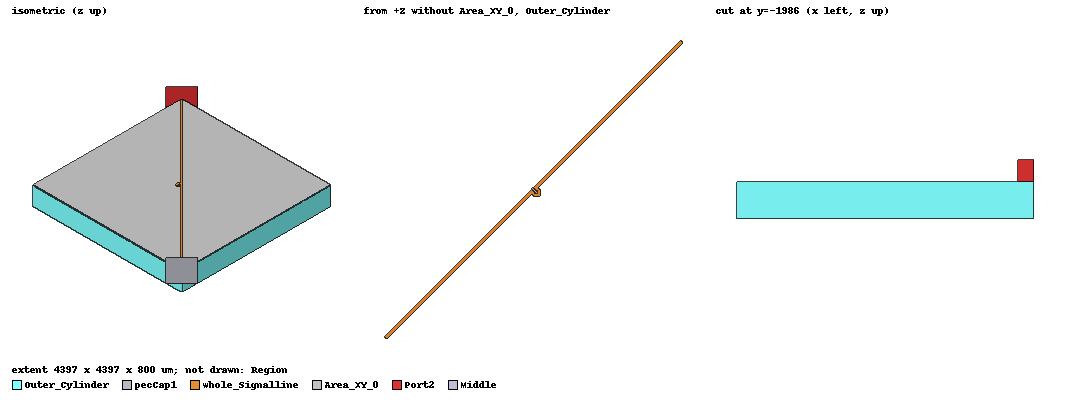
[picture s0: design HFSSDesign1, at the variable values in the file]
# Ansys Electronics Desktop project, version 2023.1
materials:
  vacuum: permittivity=1
  diamond: permittivity=16.5
  gold: permeability=0.99996 conductivity=41000000
  air: permittivity=1.0006 permeability=1.0000004
  pec: conductivity=1e+30

design HFSSDesign1 (HFSS, HFSS Modal Network, model units um)
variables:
  lÃ¤nge = 4mm
  breite = 4mm
  hÃ¶he = 0.5mm
  length = 4000um
  width = 4000um
  hight = 500um
  R_out = 65um
  R_inner = 25um
  Point = 1971.5um
  hight_Line = 1um
  width_Port1 = 600um
  hight_Port1 = width_Port1
  width_Port2 = width_Port1
  hight_Port2 = width_Port2
  width_Gap = 10um
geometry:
  Diamant = box(corner=(-length/2, -width/2, -hight/2), size=(length, width, hight))
  Outer_Cylinder [diamond] = cylinder(axis=Z, base_centre=(35um, -35um, -250um), radius=R_out, height=500um)
  Zylinder_innen = cylinder(axis=Z, base_centre=(35um, -35um, -250um), radius=R_inner, height=500um)
  Outer_Cylinder.subtract(Zylinder_innen)
  Outer_Cylinder.unite(Diamant)
  coordinate_system RelativeCS1 = origin=(0um, 0um, 0um) x=(1000um, 1000um, 0um) y=(-500um, 4.25um, 0um)
  Region [air] = region(percentage_offset=0 on all sides) in RelativeCS1
  Area_XY_20 [non-model] = rectangle(corner=(-2500um, -2500um, 230um), x_size=5000um, y_size=5000um)
  Area_ZY [non-model] = rectangle(corner=(0um, -3000um, -1500um), y_size=6000um, z_size=3000um) in RelativeCS1
  Area_XZ [non-model] = rectangle(corner=(-3000um, -50um, -1500um), z_size=3000um, x_size=6000um) in RelativeCS1
  Area_XY_10 [non-model] = rectangle(corner=(-2500um, -2500um, 240um), x_size=5000um, y_size=5000um)
  Dreieck_plus1 = polyline(z=250um, xy: (2000um, Point) (2000um, 2000um) (Point, 2000um) (2000um, Point), closed, covered)
  Dreieck_plus1.thicken(hight_Line)
  Zylinder_aussen1 = cylinder(axis=Z, base_centre=(35um, -35um, -250um), radius=R_out, height=500um)
  Zylinder_innen1 = cylinder(axis=Z, base_centre=(35um, -35um, -250um), radius=R_inner, height=500um)
  Zylinder_aussen1.subtract(Zylinder_innen1)
  Zylinder_aussen_ObjectFromFace2 = object_from(Zylinder_aussen1.face(+z end))
  Zylinder_aussen_ObjectFromFace2.thicken(hight_Line)
  signal_line1 = polyline(z=250um, xy: (-Point, -2000um) (2000um, Point) (Point, 2000um) (-2000um, -Point) (-Point, -2000um), closed, covered)
  signal_line1.thicken(hight_Line)
  Zylinder_aussen_ObjectFromFace2.unite(signal_line1)
  Ausschnitt_mitte1 = polyline(z=250um, xy: (width_Gap, -40um) (width_Gap, 30um) (-width_Gap, 30um) (-width_Gap, -40um) (width_Gap, -40um), closed, covered) in RelativeCS1
  Ausschnitt_mitte1.thicken(hight_Line)
  Zylinder_aussen_ObjectFromFace2.subtract(Ausschnitt_mitte1)
  Dreieck_plus1.unite(Zylinder_aussen_ObjectFromFace2)
  Zylinder_aussen1.delete()
  whole_Signalline [gold] = polyline(z=250um, xy: (-2000um, -Point) (-2000um, -2000um) (-Point, -2000um) (-2000um, -Point), closed, covered)
  whole_Signalline.thicken(hight_Line)
  whole_Signalline.unite(Dreieck_plus1)
  Corner_1 = polyline(z=270um, xy: (-2000um, -Point) (-Point, -2000um) (-2000um, -2000um) (-2000um, -Point), closed, covered)
  Corner_1.thicken(520um)
  Corner__1__2 = polyline(z=270um, xy: (-2000um, -Point) (-Point, -2000um) (-2000um, -2000um) (-2000um, -Point), closed, covered)
  Corner__1__2.thicken(520um)
  whole_Signalline.subtract(Corner_1)
  Outer_Cylinder.subtract(Corner__1__2)
  Corner_2 = polyline(z=270um, xy: (Point, 2000um) (2000um, Point) (2000um, 2000um) (Point, 2000um), closed, covered)
  Corner_2.thicken(-520um)
  Corner_2_2 = polyline(z=270um, xy: (Point, 2000um) (2000um, Point) (2000um, 2000um) (Point, 2000um), closed, covered)
  Corner_2_2.thicken(-520um)
  whole_Signalline.subtract(Corner_2)
  Outer_Cylinder.subtract(Corner_2_2)
  Port1 = rectangle(corner=(2808.2746um, width_Port1/2, hight/2-hight_Port1/2), y_size=-width_Port1, z_size=hight_Port1) in RelativeCS1
  Port2 = rectangle(corner=(-2808.2746um, width_Port2/2, hight/2-hight_Port2/2), y_size=-width_Port2, z_size=hight_Port2) in RelativeCS1
  pecCap1 [pec] = sweep_along_normal(Port1.face(at (1985.75, 1985.75, 250)), length=-1um)
  pecCap2 [pec] = sweep_along_normal(Port2.face(at (-1985.75, -1985.75, 250)), length=1um)
  ROI_0 = rectangle(corner=(-25um, -75um, 250um), x_size=R_inner*2, y_size=R_inner*2) in RelativeCS1
  ROI_5 [non-model] = ROI_0.duplicate_along_line(step=(0um, 0um, -5um), total=2) in RelativeCS1
  ROI_10 [non-model] = ROI_0.duplicate_along_line(step=(0um, 0um, -10um), total=2) in RelativeCS1
  ROI_15 [non-model] = ROI_0.duplicate_along_line(step=(0um, 0um, -15um), total=2) in RelativeCS1
  ROI_20 [non-model] = ROI_0.duplicate_along_line(step=(0um, 0um, -20um), total=2) in RelativeCS1
  Line2_y_direction [non-model] = polyline((53.033009um, -17.67767um, 250um) (17.67767um, -53.033009um, 250um))
  Line1_x_direction [non-model] = polyline((52.67767um, -52.67767um, 250um) (17.67767um, -17.67767um, 250um))
  Line3_z_direction [non-model] = polyline((35.355339um, -35.355339um, 250um) (35.355339um, -35.355339um, 230um))
  Area_XY_0 = rectangle(corner=(-2000um, -2000um, 250um), x_size=4000um, y_size=4000um)
  Middle [oriented by RelativeCS1] = rectangle(corner=(-width_Gap, 30um, 250um), x_size=width_Gap*2, y_size=-70um) in RelativeCS1
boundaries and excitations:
  Rad1: Radiation Objects=Region
  1: Wave Port Objects=Port1 WavePortType=Modal NumModes=1 Modes{Mode1{IntLine{(1985.75, 1985.75, -50) -> (1985.75, 1985.75, 550)} CharImp=Zpi}}
  2: Wave Port Objects=Port2 WavePortType=Modal NumModes=1 Modes{Mode1{IntLine{(-1985.75, -1985.75, -50) -> (-1985.75, -1985.75, 550)} CharImp=Zpi}}
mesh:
  Length_Diamond: LengthBased Objects=Area_XY_0 MaxLength=800um
  Length_Middle: LengthBased Objects=Middle MaxLength=8um
  Length_ROI_0: LengthBased Objects=ROI_0 MaxLength=8um
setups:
  Setup1: HfssDriven Frequency=2.87GHz MaxDeltaS=0.02 MaximumPasses=6 MinimumPasses=1 MinimumConvergedPasses=1 PercentRefinement=30 BasisOrder=1 PortAccuracy=2 DrivenSolverType="Direct Solver"
    sweep Sweep: 1GHz to 5GHz, 401 points; Type=Interpolating InterpTolerance=0.5 InterpMaxSolns=250 InterpUsePortImped=false PassivityErrorTolerance=0.0001
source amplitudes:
  1:1: 1W 0deg
  2:1: 0W 0deg
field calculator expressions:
  Mag_B_diamond = <Hx,Hy,Hz> | 1.25663706143592e-06 | * | Smooth
  Mag_B_X_diamond = Mag_B_diamond | ScalarX
  Mag_B_Y_diamond = Mag_B_diamond | ScalarY
  Mag_B_Z_diamond = Mag_B_diamond | ScalarZ
  Mag_B_Reall_X_diamond = Mag_B_X_diamond | Real
  Mag_B_Reall_Y_diamond = Mag_B_Y_diamond | Real
  Mag_B_Reall_Z_diamond = Mag_B_Z_diamond | Real
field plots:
  Mag_H_XZ, Mag_H_ZY, Mag_H_ROI_5, Mag_H_ROI_10, Mag_H_ROI_15, Mag_H_ROI_20: H Field over a plane on Setup1 : LastAdaptive at Freq=2.87GHz Phase=0deg
  Vector_H_Diamond: H Field in Outer_Cylinder on Setup1 : LastAdaptive at Freq=2.87GHz Phase=0deg
  Mesh_Diamond: MeshPlots over Area_XY_0.face on Setup1 : LastAdaptive at Freq=2.87GHz Phase=0deg
  Mag_H_XY_0: H Field over Area_XY_0.face on Setup1 : LastAdaptive at Freq=2.87GHz Phase=0deg
  Mag_H_Middle: H Field over Middle.face on Setup1 : LastAdaptive at Freq=2.87GHz Phase=0deg
  Mag_H_ROI_0, Vector_H_ROI_0: H Field over ROI_0.face(at (35.3553, -35.3553, 250)) on Setup1 : LastAdaptive at Freq=2.87GHz Phase=0deg
  Mesh_Middle: MeshPlots over Middle.face on Setup1 : LastAdaptive at Freq=2.87GHz Phase=0deg
  Mesh_ROI_0: MeshPlots over ROI_0.face(at (35.3553, -35.3553, 250)) on Setup1 : LastAdaptive at Freq=2.87GHz Phase=0deg
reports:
  S Parameter Plot 1: dB(S(1,1)) vs Freq on Setup1 : Sweep
  Calculator Expressions Plot 1: Mag_B_Reall_X_diamond vs Distance on Setup1 : LastAdaptive [Freq=2.87GHz Phase=0deg]; Mag_B_Reall_Y_diamond, Mag_B_Reall_Z_diamond vs Distance
  Calculator Expressions Plot 4: Mag_B_Reall_X_diamond vs Distance on Setup1 : LastAdaptive [Freq=2.87GHz Phase=0deg]; Mag_B_Reall_Y_diamond, Mag_B_Reall_Z_diamond vs Distance
  Calculator Expressions Plot 5: Mag_B_Reall_X_diamond vs Distance on Setup1 : LastAdaptive [Freq=2.87GHz Phase=0deg]; Mag_B_Reall_Y_diamond, Mag_B_Reall_Z_diamond vs Distance
